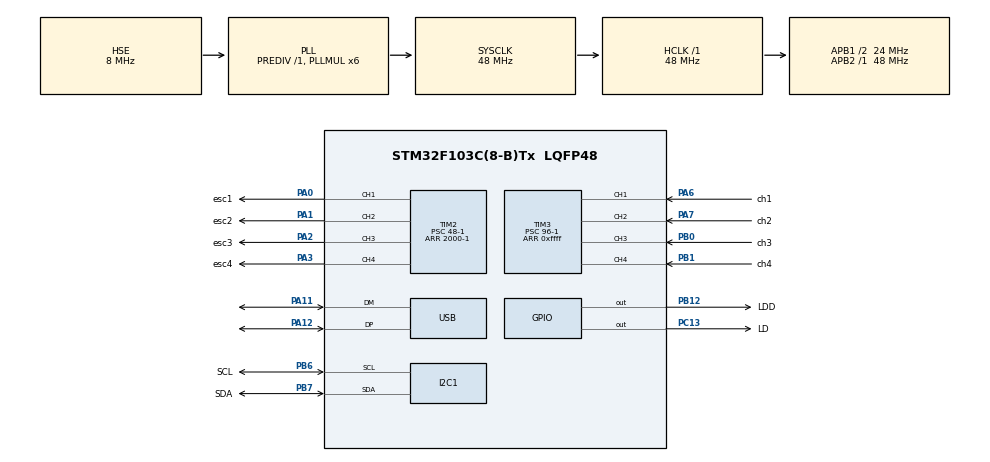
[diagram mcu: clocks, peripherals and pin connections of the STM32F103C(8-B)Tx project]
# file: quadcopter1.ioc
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I2C1.I2C_Mode=I2C_Fast
Mcu.Family=STM32F1
Mcu.Name=STM32F103C(8-B)Tx
Mcu.Package=LQFP48
NVIC.PriorityGroup=NVIC_PRIORITYGROUP_4
NVIC.TIM3_IRQn=true\:0\:0\:true\:false\:true\:true\:true
NVIC.USB_LP_CAN1_RX0_IRQn=true\:0\:0\:false\:false\:true\:false\:true
PA0-WKUP.GPIO_Label=esc1
PA0-WKUP.Signal=S_TIM2_CH1_ETR
PA1.GPIO_Label=esc2
PA1.Signal=S_TIM2_CH2
PA11.Mode=Device
PA11.Signal=USB_DM
PA12.Mode=Device
PA12.Signal=USB_DP
PA13.Mode=Serial_Wire
PA13.Signal=SYS_JTMS-SWDIO
PA14.Mode=Serial_Wire
PA14.Signal=SYS_JTCK-SWCLK
PA2.GPIO_Label=esc3
PA2.Signal=S_TIM2_CH3
PA3.GPIO_Label=esc4
PA3.Signal=S_TIM2_CH4
PA6.GPIO_Label=ch1
PA6.Signal=S_TIM3_CH1
PA7.GPIO_Label=ch2
PA7.Signal=S_TIM3_CH2
PB0.GPIO_Label=ch3
PB0.Signal=S_TIM3_CH3
PB1.GPIO_Label=ch4
PB1.Signal=S_TIM3_CH4
PB12.GPIO_Label=LDD
PB12.Signal=GPIO_Output
PB6.GPIO_Label=SCL
PB6.Mode=I2C
PB6.Signal=I2C1_SCL
PB7.GPIO_Label=SDA
PB7.Mode=I2C
PB7.Signal=I2C1_SDA
PC13-TAMPER-RTC.GPIO_Label=LD
PC13-TAMPER-RTC.Signal=GPIO_Output
PD0-OSC_IN.Mode=HSE-External-Oscillator
PD0-OSC_IN.Signal=RCC_OSC_IN
PD1-OSC_OUT.Mode=HSE-External-Oscillator
PD1-OSC_OUT.Signal=RCC_OSC_OUT
ProjectManager.HeapSize=0x600
ProjectManager.StackSize=0x400
ProjectManager.TargetToolchain=MDK-ARM V5.27
RCC.AHBFreq_Value=48000000
RCC.APB1CLKDivider=RCC_HCLK_DIV2
RCC.APB1Freq_Value=24000000
RCC.APB1TimFreq_Value=48000000
RCC.APB2Freq_Value=48000000
RCC.APB2TimFreq_Value=48000000
RCC.HCLKFreq_Value=48000000
RCC.PLLMUL=RCC_PLL_MUL6
RCC.SYSCLKFreq_VALUE=48000000
RCC.SYSCLKSource=RCC_SYSCLKSOURCE_PLLCLK
RCC.USBFreq_Value=48000000
SH.S_TIM2_CH1_ETR.0=TIM2_CH1,PWM Generation1 CH1
SH.S_TIM2_CH2.0=TIM2_CH2,PWM Generation2 CH2
SH.S_TIM2_CH3.0=TIM2_CH3,PWM Generation3 CH3
SH.S_TIM2_CH4.0=TIM2_CH4,PWM Generation4 CH4
SH.S_TIM3_CH1.0=TIM3_CH1,Input_Capture1_from_TI1
SH.S_TIM3_CH2.0=TIM3_CH2,Input_Capture2_from_TI2
SH.S_TIM3_CH3.0=TIM3_CH3,Input_Capture3_from_TI3
SH.S_TIM3_CH4.0=TIM3_CH4,Input_Capture4_from_TI4
TIM2.Channel-PWM\ Generation1\ CH1=TIM_CHANNEL_1
TIM2.Channel-PWM\ Generation2\ CH2=TIM_CHANNEL_2
TIM2.Channel-PWM\ Generation3\ CH3=TIM_CHANNEL_3
TIM2.Channel-PWM\ Generation4\ CH4=TIM_CHANNEL_4
TIM2.Period=2000-1
TIM2.Prescaler=48-1
TIM3.Channel-Input_Capture1_from_TI1=TIM_CHANNEL_1
TIM3.Channel-Input_Capture2_from_TI2=TIM_CHANNEL_2
TIM3.Channel-Input_Capture3_from_TI3=TIM_CHANNEL_3
TIM3.Channel-Input_Capture4_from_TI4=TIM_CHANNEL_4
TIM3.ICFilter_CH1=8
TIM3.ICFilter_CH2=8
TIM3.ICFilter_CH3=8
TIM3.ICFilter_CH4=8
TIM3.Period=0xffff
TIM3.Prescaler=96-1
USB_DEVICE.CLASS_NAME_FS=CDC
USB_DEVICE.VirtualMode=Cdc
USB_DEVICE.VirtualModeFS=Cdc_FS
VP_USB_DEVICE_VS_USB_DEVICE_CDC_FS.Mode=CDC_FS
board=custom

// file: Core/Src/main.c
/* USER CODE BEGIN Header */
/**
  ******************************************************************************
  * @file           : main.c
  * @brief          : Main program body
  ******************************************************************************
  * @attention
  *
  * <h2><center>&copy; Copyright (c) 2021 STMicroelectronics.
  * All rights reserved.</center></h2>
  *
  * This software component is licensed by ST under Ultimate Liberty license
  * SLA0044, the "License"; You may not use this file except in compliance with
  * the License. You may obtain a copy of the License at:
  *                             www.st.com/SLA0044
  *
  ******************************************************************************
  */
/* USER CODE END Header */
#include "main.h"
#include "i2c.h"
#include "tim.h"
#include "usb_device.h"
#include "usbd_cdc_if.h"
#include "gpio.h"
#include "mpu6050.h"
#include "inv_mpu.h"

uint16_t 	Channel1HighTime, Channel2HighTime, Channel3HighTime, Channel4HighTime;
uint16_t 	Channel1Period, Channel2Period, Channel3Period, Channel4Period;
uint8_t  	Channel1Edge = 0, Channel2Edge = 0, Channel3Edge = 0, Channel4Edge = 0;
uint16_t 	Channel1Percent, Channel2Percent, Channel3Percent, Channel4Percent;
uint16_t 	Channel1RisingTimeLast=0, Channel1RisingTimeNow, Channel1FallingTime;
uint16_t 	Channel2RisingTimeLast=0, Channel2RisingTimeNow, Channel2FallingTime;
uint16_t 	Channel3RisingTimeLast=0, Channel3RisingTimeNow, Channel3FallingTime;
uint16_t 	Channel4RisingTimeLast=0, Channel4RisingTimeNow, Channel4FallingTime;
int states,states2,states3,states4;
uint16_t duty,reciver1,reciver2,reciver3,reciver4;
float pitch,roll,yaw;
float ipitch,iroll,iyaw;
int throttle;
int start = 0;

float pid_p_roll=10;
float pid_i_roll=5;
float pid_d_roll=15;
int pid_max_roll=400;
////3  3  3
float pid_p_pitch=10;
float pid_i_pitch=5;
float pid_d_pitch=15;
int pid_max_pitch=400;

float pid_p_yaw=10;
float pid_i_yaw=5;
float pid_d_yaw=15;
int pid_max_yaw = 400;

float pid_error;
float pid_set_roll , pid_i_mem_roll , pid_roll_d_error ,roll_input;
float pid_set_pitch , pid_i_mem_pitch , pid_pitch_d_error ,pitch_input;
float pid_set_yaw , pid_i_mem_yaw , pid_yaw_d_error ,yaw_input;
int pid_roll,pid_pitch,pid_yaw;
int esc_1,esc_2,esc_3,esc_4;

void SystemClock_Config(void);

int main(void)
{
  /* USER CODE BEGIN 1 */
		pid_p_pitch=pid_p_roll;
		pid_i_pitch=pid_i_roll;
		pid_d_pitch=pid_d_roll;
		pid_max_pitch=pid_max_roll;
  /* USER CODE END 1 */

  /* MCU Configuration--------------------------------------------------------*/

  /* Reset of all peripherals, Initializes the Flash interface and the Systick. */
  HAL_Init();

  /* Configure the system clock */
  SystemClock_Config();

  /* Initialize all configured peripherals */
  MX_GPIO_Init();
  MX_I2C1_Init();
  MX_TIM2_Init();
  MX_TIM3_Init();
  MX_USB_DEVICE_Init();
	USB_Status_Init();
  /* USER CODE BEGIN 2 */
	/////////tim start
	HAL_TIM_IC_Start_IT(&htim3,TIM_CHANNEL_1);
	HAL_TIM_IC_Start_IT(&htim3,TIM_CHANNEL_2);
	HAL_TIM_IC_Start_IT(&htim3,TIM_CHANNEL_3);
	HAL_TIM_IC_Start_IT(&htim3,TIM_CHANNEL_4);
	HAL_TIM_PWM_Start(&htim2,TIM_CHANNEL_1);
	HAL_TIM_PWM_Start(&htim2,TIM_CHANNEL_2);
	HAL_TIM_PWM_Start(&htim2,TIM_CHANNEL_3);
	HAL_TIM_PWM_Start(&htim2,TIM_CHANNEL_4);
  /* USER CODE END 2 */
	usb_printf("usb START\t\n");
	HAL_GPIO_WritePin(LDD_GPIO_Port,LDD_Pin,GPIO_PIN_SET);
	HAL_GPIO_WritePin(LD_GPIO_Port,LD_Pin,GPIO_PIN_SET);
	HAL_Delay(200);
	HAL_GPIO_WritePin(LDD_GPIO_Port,LDD_Pin,GPIO_PIN_RESET);
	HAL_GPIO_WritePin(LD_GPIO_Port,LD_Pin,GPIO_PIN_RESET);
	//////////esc initialization start
	usb_printf("wait 5 mins\n");
	__HAL_TIM_SET_COMPARE(&htim2, TIM_CHANNEL_1, 1940);
	__HAL_TIM_SET_COMPARE(&htim2, TIM_CHANNEL_2, 1940);
	__HAL_TIM_SET_COMPARE(&htim2, TIM_CHANNEL_3, 1940);
	__HAL_TIM_SET_COMPARE(&htim2, TIM_CHANNEL_4, 1940);
	HAL_Delay(5000);
	usb_printf("push the throttle to the maximum\n");
	HAL_GPIO_WritePin(LDD_GPIO_Port,LDD_Pin,GPIO_PIN_SET);
	while(reciver3 < 1940)
	{
		if(states3==2)
			{
				usb_printf("Channel3 = %d	\n", Channel3HighTime);
				states3=0;
				reciver3 = Channel3HighTime;
			}
			__HAL_TIM_SET_COMPARE(&htim2, TIM_CHANNEL_1, reciver3);
			__HAL_TIM_SET_COMPARE(&htim2, TIM_CHANNEL_2, reciver3);
			__HAL_TIM_SET_COMPARE(&htim2, TIM_CHANNEL_3, reciver3);
			__HAL_TIM_SET_COMPARE(&htim2, TIM_CHANNEL_4, reciver3);
	}
			__HAL_TIM_SET_COMPARE(&htim2, TIM_CHANNEL_1, 1100);
			__HAL_TIM_SET_COMPARE(&htim2, TIM_CHANNEL_2, 1100);
			__HAL_TIM_SET_COMPARE(&htim2, TIM_CHANNEL_3, 1100);
			__HAL_TIM_SET_COMPARE(&htim2, TIM_CHANNEL_4, 1100);
		usb_printf("esc initialization OK!!!! \r\n");
	//////////mpu initialization
	HAL_GPIO_WritePin(LDD_GPIO_Port,LDD_Pin,GPIO_PIN_RESET);

	while(MPU_Init())
	{
		HAL_GPIO_TogglePin(LDD_GPIO_Port,LDD_Pin);
		HAL_GPIO_TogglePin(LD_GPIO_Port,LD_Pin);
		usb_printf("mpu initialization error!! \r\n");
		HAL_Delay(200);
	}
	usb_printf("mpu initialization OK----------------------- \r\n");
	HAL_GPIO_WritePin(LDD_GPIO_Port,LDD_Pin,GPIO_PIN_SET);
	/////////mpu6050_dmp initialization
	while(mpu_dmp_init())
	{
		HAL_GPIO_TogglePin(LDD_GPIO_Port,LDD_Pin);
		HAL_GPIO_TogglePin(LD_GPIO_Port,LD_Pin);
		usb_printf("load DMP error!! \r\n");
		HAL_Delay(200);
	}
	usb_printf("mpu DMP load OK----------------------- \r\n");
	init_dmp_data();                                                                  //////while

	HAL_GPIO_WritePin(LDD_GPIO_Port,LDD_Pin,GPIO_PIN_SET);
	HAL_GPIO_WritePin(LDD_GPIO_Port,LDD_Pin,GPIO_PIN_SET);
  /* Infinite loop */
  /* USER CODE BEGIN WHILE */
  while (1)
  {
		while(mpu_dmp_get_data(&pitch,&roll,&yaw)!=0);      ///when catch fall,catch again
		//usb_printf("pitch = %.2f\t| roll =%.2f\t|yaw = %.2f\t\n",pitch,roll,yaw);
		roll_input = roll-iroll;
		pitch_input = pitch-ipitch;
		yaw_input = iyaw-yaw;
		usb_printf("pitch = %.2f\t| roll =%.2f\t|yaw = %.2f\t\n",pitch_input,roll_input,yaw_input);
    /* USER CODE END WHILE */
		///////reciver search
		channelsearch();
		/////channel 1 roll
		/////channel 2 elevator pitch
		/////channel 3 throttle
		/////channel 4 yaw
		if(reciver3<1200 && reciver2 > 1900)start = 1;
		if(start == 1)
		{
			start = 2;
			pid_i_mem_roll = 0;
			pid_roll_d_error = 0;
			pid_i_mem_pitch = 0;
			pid_pitch_d_error = 0;
			pid_i_mem_yaw = 0;
			pid_yaw_d_error = 0;
		}
		if(start == 2 && reciver3 < 1200 && reciver2 < 1200)start = 0;
		//////channel1 set point   roll
		pid_set_roll = 0;
		if(reciver1 > 1525)pid_set_roll = (reciver1 - 1525)/10;
		else if(reciver1 < 1515)pid_set_roll = (reciver1 - 1515)/10;
		//////channel2 set point   pitch
		pid_set_pitch = 0;
		if(reciver2 > 1525)pid_set_pitch= (reciver2 - 1525)/10;
		else if(reciver2 < 1515)pid_set_pitch = (reciver2 - 1515)/10;
		//////channel4 set point    yaw
		pid_set_yaw = 0;
		if(reciver4 > 1525)pid_set_yaw = (reciver4 - 1525)/10;
		else if(reciver4 < 1515)pid_set_yaw = (reciver4 - 1515)/10;
		/////set end

		if(start == 2)
		{
			pid_caculate();
			throttle = reciver3 + 100;
			esc_1 = throttle + pid_pitch + pid_roll + pid_yaw; //Calculate the pulse for esc 1 (front-right - CCW)
			esc_2 = throttle - pid_pitch + pid_roll - pid_yaw; //Calculate the pulse for esc 2 (rear-right - CW)
			esc_3 = throttle - pid_pitch - pid_roll + pid_yaw; //Calculate the pulse for esc 3 (rear-left - CCW)
			esc_4 = throttle + pid_pitch - pid_roll - pid_yaw; //Calculate the pulse for esc 4 (front-left - CW)
			if(esc_1>1940)esc_1=1940;
			else if(esc_1<1200)esc_1 = 1200;

			if(esc_2>1940)esc_2=1940;
			else if(esc_2<1200)esc_2 = 1200;

			if(esc_3>1940)esc_3=1940;
			else if(esc_3<1200)esc_3 = 1200;

			if(esc_4>1940)esc_4=1940;
			else if(esc_4<1200)esc_4 = 1200;
			iyaw = iyaw + pid_set_yaw;
			usb_printf("Esc1 = %d| Esc2 = %d|esc3 = %d|Esc4 = %d\n",esc_1,esc_2,esc_3,esc_4);
			HAL_GPIO_TogglePin(LDD_GPIO_Port,LDD_Pin);
			HAL_GPIO_TogglePin(LD_GPIO_Port,LD_Pin);
		}
		else if(start == 0)
		{
			throttle = 1100;
			esc_1 = 1100;
			esc_2 = 1100;
			esc_3 = 1100;
			esc_4 = 1100;
			HAL_GPIO_WritePin(LDD_GPIO_Port,LDD_Pin,GPIO_PIN_SET);
			HAL_GPIO_WritePin(LD_GPIO_Port,LD_Pin,GPIO_PIN_SET);
		}

			__HAL_TIM_SET_COMPARE(&htim2, TIM_CHANNEL_1, esc_1);
			__HAL_TIM_SET_COMPARE(&htim2, TIM_CHANNEL_2, esc_2);
			__HAL_TIM_SET_COMPARE(&htim2, TIM_CHANNEL_3, esc_3);
			__HAL_TIM_SET_COMPARE(&htim2, TIM_CHANNEL_4, esc_4);

    /* USER CODE BEGIN 3 */
		mpu_reset_fifo();
  }
  /* USER CODE END 3 */
}

void HAL_TIM_IC_CaptureCallback(TIM_HandleTypeDef *htim)
{
	UNUSED(htim);
	/////////////////channel 1
	if(htim->Channel == HAL_TIM_ACTIVE_CHANNEL_1)
	{
		if(Channel1Edge == 0)
		{
			Channel1RisingTimeNow = HAL_TIM_ReadCapturedValue(&htim3, TIM_CHANNEL_1);//get rissing time
			__HAL_TIM_SET_CAPTUREPOLARITY(&htim3, TIM_CHANNEL_1, TIM_INPUTCHANNELPOLARITY_FALLING);//change catch states
			HAL_TIM_IC_Start_IT(&htim3, TIM_CHANNEL_1);
			Channel1Edge = 1;
			states=1;
		}
		else if(Channel1Edge == 1)  //when the state is high
		{
			Channel1FallingTime = HAL_TIM_ReadCapturedValue(&htim3, TIM_CHANNEL_1);	//get falling time
			__HAL_TIM_SET_CAPTUREPOLARITY(&htim3, TIM_CHANNEL_1, TIM_INPUTCHANNELPOLARITY_RISING);//change catch states
			HAL_TIM_IC_Start_IT(&htim3, TIM_CHANNEL_1);
			states=2;
			if(Channel1FallingTime < Channel1RisingTimeNow)      //caculate high statet time
			{
				Channel1HighTime = Channel1FallingTime + 0xffff - Channel1RisingTimeNow + 1;
			}
			else
			{
				Channel1HighTime = Channel1FallingTime - Channel1RisingTimeNow;
			}
			Channel1Edge = 0;
		}
	}
	///////////////channel2
	else if(htim->Channel == HAL_TIM_ACTIVE_CHANNEL_2)
	{
		if(Channel2Edge == 0)
		{
			Channel2RisingTimeNow = HAL_TIM_ReadCapturedValue(&htim3, TIM_CHANNEL_2);
			__HAL_TIM_SET_CAPTUREPOLARITY(&htim3, TIM_CHANNEL_2, TIM_INPUTCHANNELPOLARITY_FALLING);
			HAL_TIM_IC_Start_IT(&htim3, TIM_CHANNEL_2);
			Channel2Edge = 1;
			states2 = 1;
		}
		else if(Channel2Edge == 1)
		{
			Channel2FallingTime = HAL_TIM_ReadCapturedValue(&htim3, TIM_CHANNEL_2);
			__HAL_TIM_SET_CAPTUREPOLARITY(&htim3, TIM_CHANNEL_2, TIM_INPUTCHANNELPOLARITY_RISING);
			HAL_TIM_IC_Start_IT(&htim3, TIM_CHANNEL_2);
			states2 = 2;
			if(Channel2FallingTime < Channel2RisingTimeNow)
			{
				Channel2HighTime = Channel2FallingTime + 0xffff - Channel2RisingTimeNow + 1;
			}
			else
			{
				Channel2HighTime = Channel2FallingTime - Channel2RisingTimeNow;
			}
			Channel2Edge = 0;
		}
	}
	else if(htim->Channel == HAL_TIM_ACTIVE_CHANNEL_3)
	{
		if(Channel3Edge == 0)
		{
			Channel3RisingTimeNow = HAL_TIM_ReadCapturedValue(&htim3, TIM_CHANNEL_3);
			__HAL_TIM_SET_CAPTUREPOLARITY(&htim3, TIM_CHANNEL_3, TIM_INPUTCHANNELPOLARITY_FALLING);
			HAL_TIM_IC_Start_IT(&htim3, TIM_CHANNEL_3);
			Channel3Edge = 1;
			states3=1;
		}
		else if(Channel3Edge == 1)
		{
			Channel3FallingTime = HAL_TIM_ReadCapturedValue(&htim3, TIM_CHANNEL_3);
			__HAL_TIM_SET_CAPTUREPOLARITY(&htim3, TIM_CHANNEL_3, TIM_INPUTCHANNELPOLARITY_RISING);
			HAL_TIM_IC_Start_IT(&htim3, TIM_CHANNEL_3);
			states3=2;
			if(Channel3FallingTime < Channel3RisingTimeNow)
			{
				Channel3HighTime = Channel3FallingTime + 0xffff - Channel3RisingTimeNow + 1;
			}
			else
			{
				Channel3HighTime = Channel3FallingTime - Channel3RisingTimeNow;
			}
			Channel3Edge = 0;
		}
	}
	else if(htim->Channel == HAL_TIM_ACTIVE_CHANNEL_4)
	{
		if(Channel4Edge == 0)
		{
			Channel4RisingTimeNow = HAL_TIM_ReadCapturedValue(&htim3, TIM_CHANNEL_4);
			__HAL_TIM_SET_CAPTUREPOLARITY(&htim3, TIM_CHANNEL_4, TIM_INPUTCHANNELPOLARITY_FALLING);
			HAL_TIM_IC_Start_IT(&htim3, TIM_CHANNEL_4);
			Channel4Edge = 1;
			states4=1;
		}
		else if(Channel4Edge == 1)
		{
			Channel4FallingTime = HAL_TIM_ReadCapturedValue(&htim3, TIM_CHANNEL_4);
			__HAL_TIM_SET_CAPTUREPOLARITY(&htim3, TIM_CHANNEL_4, TIM_INPUTCHANNELPOLARITY_RISING);
			HAL_TIM_IC_Start_IT(&htim3, TIM_CHANNEL_4);
			states4=2;
			if(Channel4FallingTime < Channel4RisingTimeNow)
			{
				Channel4HighTime = Channel4FallingTime + 0xffff - Channel4RisingTimeNow + 1;
			}
			else
			{
				Channel4HighTime = Channel4FallingTime - Channel4RisingTimeNow;
			}
			Channel4Edge = 0;
		}
	}
}

void init_dmp_data(void)
{
	int it = 0;
	while(it<40)
	{
		while(mpu_dmp_get_data(&ipitch,&iroll,&iyaw)!=0);      ///when catch fall,catch again
		usb_printf("ipitch = %.2f\t| iroll =%.2f\t|iyaw = %.2f\t\n",ipitch,iroll,iyaw);
		mpu_reset_fifo();
		it++;
	}
}

void channelsearch(void)
{
	if(states==2)
			{
				//usb_printf("Channel1 = %d	\n", Channel1HighTime);
				states=0;
				reciver1 = Channel1HighTime;
			}
			//////channel2 search
			if(states2==2)
			{
				//usb_printf("Channel2 = %d	\n", Channel2HighTime);
				states2=0;
				reciver2 = Channel2HighTime;
			}
			//////channel3 search
			if(states3==2)
			{
				//usb_printf("Channel3 = %d	\n", Channel3HighTime);
				states3=0;
				reciver3 = Channel3HighTime;
			}
			//////channel4 search
			if(states4==2)
			{
				//usb_printf("Channel4 = %d	\n", Channel4HighTime);
				states4=0;
				reciver4 = Channel4HighTime;
			}
}

void pid_caculate(void)
{
	//roll caculate
	pid_error = roll_input-pid_set_roll;		//error value
	pid_i_mem_roll += pid_i_roll*pid_error;		//integral
	if(pid_i_mem_roll>pid_max_roll)
		pid_i_mem_roll=pid_max_roll;
	else if(pid_i_mem_roll<pid_max_roll*-1)
		pid_i_mem_roll=pid_max_roll*-1;

	pid_roll = pid_p_roll*pid_error+pid_i_mem_roll+pid_d_roll*(pid_error-pid_roll_d_error);	//pid caculate
	if(pid_roll>pid_max_roll)
		pid_roll=pid_max_roll;
	else if(pid_roll<pid_max_roll*-1)
		pid_roll=pid_max_roll*-1;
	pid_roll_d_error = pid_error;

	//pitch caculate
	pid_error = pitch_input - pid_set_pitch;		//error value
	pid_i_mem_pitch += pid_i_pitch*pid_error;	//integral
	if(pid_i_mem_pitch>pid_max_pitch)
		pid_i_mem_pitch=pid_max_pitch;
	else if(pid_i_mem_pitch<pid_max_pitch*-1)
		pid_i_mem_pitch=pid_max_pitch*-1;

	pid_pitch = pid_p_pitch*pid_error + pid_i_mem_pitch + pid_d_pitch*(pid_error - pid_pitch_d_error);	//pid caculate
	if(pid_pitch>pid_max_pitch)
		pid_pitch=pid_max_pitch;
	else if(pid_pitch<pid_max_pitch*-1)
		pid_pitch=pid_max_pitch*-1;
	pid_pitch_d_error = pid_error;

	//yaw caculate
	pid_error = yaw_input - pid_set_yaw;		//error value
	pid_i_mem_yaw += pid_i_yaw*pid_error;		//integral
	if(pid_i_mem_yaw>pid_max_yaw)
		pid_i_mem_yaw=pid_max_yaw;
	else if(pid_i_mem_yaw<pid_max_yaw*-1)
		pid_i_mem_yaw=pid_max_yaw*-1;

	pid_yaw = pid_p_yaw*pid_error + pid_i_mem_yaw + pid_d_yaw*(pid_error - pid_yaw_d_error);	//pid caculate
	if(pid_yaw>pid_max_yaw)
		pid_yaw=pid_max_yaw;
	else if(pid_yaw<pid_max_yaw*-1)
		pid_yaw=pid_max_yaw*-1;
	pid_yaw_d_error = pid_error;

}

void SystemClock_Config(void)
{
  RCC_OscInitTypeDef RCC_OscInitStruct = {0};
  RCC_ClkInitTypeDef RCC_ClkInitStruct = {0};
  RCC_PeriphCLKInitTypeDef PeriphClkInit = {0};

  /** Initializes the RCC Oscillators according to the specified parameters
  * in the RCC_OscInitTypeDef structure.
  */
  RCC_OscInitStruct.OscillatorType = RCC_OSCILLATORTYPE_HSE;
  RCC_OscInitStruct.HSEState = RCC_HSE_ON;
  RCC_OscInitStruct.HSEPredivValue = RCC_HSE_PREDIV_DIV1;
  RCC_OscInitStruct.HSIState = RCC_HSI_ON;
  RCC_OscInitStruct.PLL.PLLState = RCC_PLL_ON;
  RCC_OscInitStruct.PLL.PLLSource = RCC_PLLSOURCE_HSE;
  RCC_OscInitStruct.PLL.PLLMUL = RCC_PLL_MUL6;
  if (HAL_RCC_OscConfig(&RCC_OscInitStruct) != HAL_OK)
  {
    Error_Handler();
  }
  /** Initializes the CPU, AHB and APB buses clocks
  */
  RCC_ClkInitStruct.ClockType = RCC_CLOCKTYPE_HCLK|RCC_CLOCKTYPE_SYSCLK
                              |RCC_CLOCKTYPE_PCLK1|RCC_CLOCKTYPE_PCLK2;
  RCC_ClkInitStruct.SYSCLKSource = RCC_SYSCLKSOURCE_PLLCLK;
  RCC_ClkInitStruct.AHBCLKDivider = RCC_SYSCLK_DIV1;
  RCC_ClkInitStruct.APB1CLKDivider = RCC_HCLK_DIV2;
  RCC_ClkInitStruct.APB2CLKDivider = RCC_HCLK_DIV1;

  if (HAL_RCC_ClockConfig(&RCC_ClkInitStruct, FLASH_LATENCY_1) != HAL_OK)
  {
    Error_Handler();
  }
  PeriphClkInit.PeriphClockSelection = RCC_PERIPHCLK_USB;
  PeriphClkInit.UsbClockSelection = RCC_USBCLKSOURCE_PLL;
  if (HAL_RCCEx_PeriphCLKConfig(&PeriphClkInit) != HAL_OK)
  {
    Error_Handler();
  }
}

void Error_Handler(void)
{
}

/************************ (C) COPYRIGHT STMicroelectronics *****END OF FILE****/
